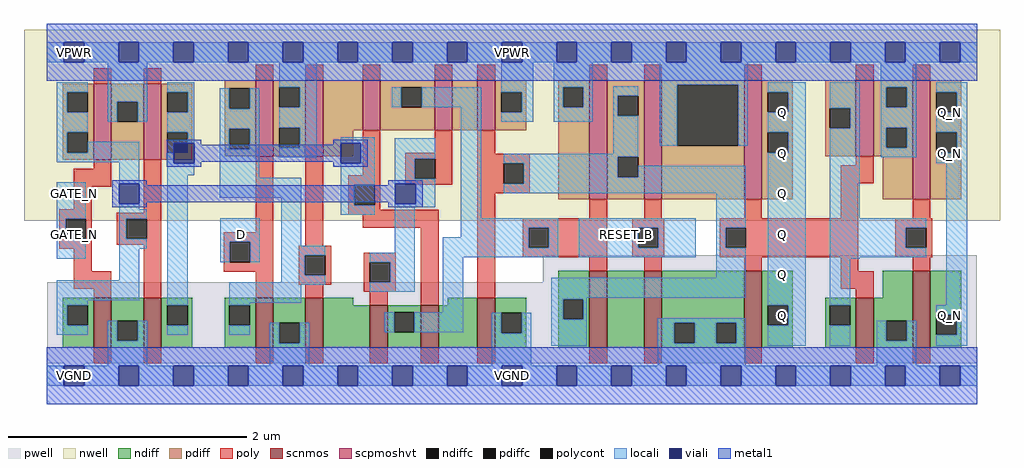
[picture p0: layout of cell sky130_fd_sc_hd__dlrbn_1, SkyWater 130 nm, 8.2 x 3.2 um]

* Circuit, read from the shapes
.subckt sky130_fd_sc_hd__dlrbn_1 D GATE_N RESET_B VGND VNB VPB VPWR Q Q_N
XM1 VGND GATE_N n1 VNB sky130_fd_pr__nfet_01v8 w=0.42 l=0.15
XM2 n2 n1 VGND VNB sky130_fd_pr__nfet_01v8 w=0.42 l=0.15
XM3 VGND D n3 VNB sky130_fd_pr__nfet_01v8 w=0.42 l=0.15
XM4 n4 n3 VGND VNB sky130_fd_pr__nfet_01v8 w=0.42 l=0.15
XM5 n5 n1 n4 VNB sky130_fd_pr__nfet_01v8 w=0.36 l=0.15
XM6 n6 n2 n5 VNB sky130_fd_pr__nfet_01v8 w=0.36 l=0.15
XM7 VGND n7 n6 VNB sky130_fd_pr__nfet_01v8 w=0.42 l=0.15
XM8 n8 n5 n7 VNB sky130_fd_pr__nfet_01v8 w=0.65 l=0.15
XM9 VGND RESET_B n8 VNB sky130_fd_pr__nfet_01v8 w=0.65 l=0.15
XM10 Q n7 VGND VNB sky130_fd_pr__nfet_01v8 w=0.65 l=0.15
XM11 VGND n7 n9 VNB sky130_fd_pr__nfet_01v8 w=0.42 l=0.15
XM12 Q_N n9 VGND VNB sky130_fd_pr__nfet_01v8 w=0.65 l=0.15
XM13 VPWR GATE_N n1 VPB sky130_fd_pr__pfet_01v8_hvt w=0.64 l=0.15
XM14 n2 n1 VPWR VPB sky130_fd_pr__pfet_01v8_hvt w=0.64 l=0.15
XM15 VPWR D n3 VPB sky130_fd_pr__pfet_01v8_hvt w=0.64 l=0.15
XM16 n10 n3 VPWR VPB sky130_fd_pr__pfet_01v8_hvt w=0.64 l=0.15
XM17 n5 n2 n10 VPB sky130_fd_pr__pfet_01v8_hvt w=0.42 l=0.15
XM18 n11 n1 n5 VPB sky130_fd_pr__pfet_01v8_hvt w=0.42 l=0.15
XM19 VPWR n7 n11 VPB sky130_fd_pr__pfet_01v8_hvt w=0.42 l=0.15
XM20 n7 n5 VPWR VPB sky130_fd_pr__pfet_01v8_hvt w=1 l=0.15
XM21 VPWR RESET_B n7 VPB sky130_fd_pr__pfet_01v8_hvt w=1 l=0.15
XM22 Q n7 VPWR VPB sky130_fd_pr__pfet_01v8_hvt w=1 l=0.15
XM23 VPWR n7 n9 VPB sky130_fd_pr__pfet_01v8_hvt w=0.64 l=0.15
XM24 Q_N n9 VPWR VPB sky130_fd_pr__pfet_01v8_hvt w=1 l=0.15
.ends

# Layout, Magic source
magic
tech sky130A
magscale 1 2
<< nwell >>
rect -38 261 1602 582
<< pwell >>
rect 834 157 1563 203
rect 1 21 1563 157
rect 30 -17 64 21
<< scnmos >>
rect 79 47 109 131
rect 163 47 193 131
rect 351 47 381 131
rect 435 47 465 131
rect 543 47 573 119
rect 629 47 659 119
rect 724 47 754 131
rect 912 47 942 177
rect 1004 47 1034 177
rect 1172 47 1202 177
rect 1360 47 1390 131
rect 1455 47 1485 177
<< scpmoshvt >>
rect 79 363 109 491
rect 163 363 193 491
rect 351 369 381 497
rect 435 369 465 497
rect 531 413 561 497
rect 652 413 682 497
rect 724 413 754 497
rect 912 297 942 497
rect 1004 297 1034 497
rect 1172 297 1202 497
rect 1360 369 1390 497
rect 1455 297 1485 497
<< ndiff >>
rect 27 119 79 131
rect 27 85 35 119
rect 69 85 79 119
rect 27 47 79 85
rect 109 93 163 131
rect 109 59 119 93
rect 153 59 163 93
rect 109 47 163 59
rect 193 119 245 131
rect 193 85 203 119
rect 237 85 245 119
rect 193 47 245 85
rect 299 119 351 131
rect 299 85 307 119
rect 341 85 351 119
rect 299 47 351 85
rect 381 89 435 131
rect 381 55 391 89
rect 425 55 435 89
rect 381 47 435 55
rect 465 119 515 131
rect 674 119 724 131
rect 465 47 543 119
rect 573 107 629 119
rect 573 73 584 107
rect 618 73 629 107
rect 573 47 629 73
rect 659 47 724 119
rect 754 106 806 131
rect 754 72 764 106
rect 798 72 806 106
rect 754 47 806 72
rect 860 129 912 177
rect 860 95 868 129
rect 902 95 912 129
rect 860 47 912 95
rect 942 47 1004 177
rect 1034 89 1172 177
rect 1034 55 1055 89
rect 1089 55 1125 89
rect 1159 55 1172 89
rect 1034 47 1172 55
rect 1202 119 1254 177
rect 1405 131 1455 177
rect 1202 85 1212 119
rect 1246 85 1254 119
rect 1202 47 1254 85
rect 1308 119 1360 131
rect 1308 85 1316 119
rect 1350 85 1360 119
rect 1308 47 1360 85
rect 1390 93 1455 131
rect 1390 59 1411 93
rect 1445 59 1455 93
rect 1390 47 1455 59
rect 1485 103 1537 177
rect 1485 69 1495 103
rect 1529 69 1537 103
rect 1485 47 1537 69
<< pdiff >>
rect 27 477 79 491
rect 27 443 35 477
rect 69 443 79 477
rect 27 409 79 443
rect 27 375 35 409
rect 69 375 79 409
rect 27 363 79 375
rect 109 461 163 491
rect 109 427 119 461
rect 153 427 163 461
rect 109 363 163 427
rect 193 477 245 491
rect 193 443 203 477
rect 237 443 245 477
rect 193 409 245 443
rect 193 375 203 409
rect 237 375 245 409
rect 193 363 245 375
rect 299 483 351 497
rect 299 449 307 483
rect 341 449 351 483
rect 299 415 351 449
rect 299 381 307 415
rect 341 381 351 415
rect 299 369 351 381
rect 381 485 435 497
rect 381 451 391 485
rect 425 451 435 485
rect 381 417 435 451
rect 381 383 391 417
rect 425 383 435 417
rect 381 369 435 383
rect 465 413 531 497
rect 561 485 652 497
rect 561 451 596 485
rect 630 451 652 485
rect 561 413 652 451
rect 682 413 724 497
rect 754 477 806 497
rect 754 443 764 477
rect 798 443 806 477
rect 754 413 806 443
rect 860 485 912 497
rect 860 451 868 485
rect 902 451 912 485
rect 465 369 515 413
rect 860 297 912 451
rect 942 471 1004 497
rect 942 437 960 471
rect 994 437 1004 471
rect 942 368 1004 437
rect 942 334 960 368
rect 994 334 1004 368
rect 942 297 1004 334
rect 1034 489 1172 497
rect 1034 387 1060 489
rect 1162 387 1172 489
rect 1034 297 1172 387
rect 1202 477 1254 497
rect 1202 443 1212 477
rect 1246 443 1254 477
rect 1202 409 1254 443
rect 1202 375 1212 409
rect 1246 375 1254 409
rect 1202 297 1254 375
rect 1308 450 1360 497
rect 1308 416 1316 450
rect 1350 416 1360 450
rect 1308 369 1360 416
rect 1390 485 1455 497
rect 1390 451 1411 485
rect 1445 451 1455 485
rect 1390 417 1455 451
rect 1390 383 1411 417
rect 1445 383 1455 417
rect 1390 369 1455 383
rect 1405 297 1455 369
rect 1485 477 1537 497
rect 1485 443 1495 477
rect 1529 443 1537 477
rect 1485 409 1537 443
rect 1485 375 1495 409
rect 1529 375 1537 409
rect 1485 297 1537 375
<< ndiffc >>
rect 35 85 69 119
rect 119 59 153 93
rect 203 85 237 119
rect 307 85 341 119
rect 391 55 425 89
rect 584 73 618 107
rect 764 72 798 106
rect 868 95 902 129
rect 1055 55 1089 89
rect 1125 55 1159 89
rect 1212 85 1246 119
rect 1316 85 1350 119
rect 1411 59 1445 93
rect 1495 69 1529 103
<< pdiffc >>
rect 35 443 69 477
rect 35 375 69 409
rect 119 427 153 461
rect 203 443 237 477
rect 203 375 237 409
rect 307 449 341 483
rect 307 381 341 415
rect 391 451 425 485
rect 391 383 425 417
rect 596 451 630 485
rect 764 443 798 477
rect 868 451 902 485
rect 960 437 994 471
rect 960 334 994 368
rect 1060 387 1162 489
rect 1212 443 1246 477
rect 1212 375 1246 409
rect 1316 416 1350 450
rect 1411 451 1445 485
rect 1411 383 1445 417
rect 1495 443 1529 477
rect 1495 375 1529 409
<< poly >>
rect 79 491 109 517
rect 163 491 193 517
rect 351 497 381 523
rect 435 497 465 523
rect 531 497 561 523
rect 652 497 682 523
rect 724 497 754 523
rect 912 497 942 523
rect 1004 497 1034 523
rect 1172 497 1202 523
rect 1360 497 1390 523
rect 1455 497 1485 523
rect 79 348 109 363
rect 46 318 109 348
rect 46 280 76 318
rect 21 264 76 280
rect 163 274 193 363
rect 21 230 32 264
rect 66 230 76 264
rect 21 214 76 230
rect 118 264 193 274
rect 118 230 134 264
rect 168 230 193 264
rect 351 241 381 369
rect 118 220 193 230
rect 46 176 76 214
rect 46 146 109 176
rect 79 131 109 146
rect 163 131 193 220
rect 298 225 381 241
rect 298 191 308 225
rect 342 191 381 225
rect 435 219 465 369
rect 531 337 561 413
rect 652 375 682 413
rect 507 321 561 337
rect 603 365 682 375
rect 603 331 619 365
rect 653 331 682 365
rect 603 321 682 331
rect 724 373 754 413
rect 724 357 812 373
rect 724 323 768 357
rect 802 323 812 357
rect 507 287 517 321
rect 551 287 561 321
rect 507 279 561 287
rect 724 307 812 323
rect 507 271 659 279
rect 531 249 659 271
rect 298 175 381 191
rect 351 131 381 175
rect 424 203 478 219
rect 424 169 434 203
rect 468 169 478 203
rect 424 153 478 169
rect 533 191 587 207
rect 533 157 543 191
rect 577 157 587 191
rect 435 131 465 153
rect 533 141 587 157
rect 543 119 573 141
rect 629 119 659 249
rect 724 131 754 307
rect 1360 354 1390 369
rect 1334 324 1390 354
rect 912 265 942 297
rect 1004 265 1034 297
rect 1172 265 1202 297
rect 1334 265 1364 324
rect 1455 265 1485 297
rect 800 249 942 265
rect 800 215 810 249
rect 844 215 942 249
rect 800 199 942 215
rect 984 249 1038 265
rect 984 215 994 249
rect 1028 215 1038 249
rect 984 199 1038 215
rect 1131 249 1364 265
rect 1131 215 1141 249
rect 1175 215 1364 249
rect 1131 199 1364 215
rect 1426 249 1488 265
rect 1426 215 1444 249
rect 1478 215 1488 249
rect 1426 199 1488 215
rect 912 177 942 199
rect 1004 177 1034 199
rect 1172 177 1202 199
rect 1334 176 1364 199
rect 1455 177 1485 199
rect 1334 146 1390 176
rect 1360 131 1390 146
rect 79 21 109 47
rect 163 21 193 47
rect 351 21 381 47
rect 435 21 465 47
rect 543 21 573 47
rect 629 21 659 47
rect 724 21 754 47
rect 912 21 942 47
rect 1004 21 1034 47
rect 1172 21 1202 47
rect 1360 21 1390 47
rect 1455 21 1485 47
<< polycont >>
rect 32 230 66 264
rect 134 230 168 264
rect 308 191 342 225
rect 619 331 653 365
rect 768 323 802 357
rect 517 287 551 321
rect 434 169 468 203
rect 543 157 577 191
rect 810 215 844 249
rect 994 215 1028 249
rect 1141 215 1175 249
rect 1444 215 1478 249
<< locali >>
rect 0 527 29 561
rect 63 527 121 561
rect 155 527 213 561
rect 247 527 305 561
rect 339 527 397 561
rect 431 527 489 561
rect 523 527 581 561
rect 615 527 673 561
rect 707 527 765 561
rect 799 527 857 561
rect 891 527 949 561
rect 983 527 1041 561
rect 1075 527 1133 561
rect 1167 527 1225 561
rect 1259 527 1317 561
rect 1351 527 1409 561
rect 1443 527 1501 561
rect 1535 527 1564 561
rect 17 477 69 493
rect 17 443 35 477
rect 17 409 69 443
rect 103 461 169 527
rect 103 427 119 461
rect 153 427 169 461
rect 203 477 248 493
rect 391 485 454 527
rect 237 443 248 477
rect 17 375 35 409
rect 203 409 248 443
rect 69 375 156 393
rect 17 359 156 375
rect 17 264 66 325
rect 17 230 32 264
rect 17 197 66 230
rect 122 323 156 359
rect 122 280 156 289
rect 237 391 248 409
rect 203 357 214 375
rect 203 337 248 357
rect 291 449 307 483
rect 341 449 357 483
rect 291 415 357 449
rect 291 381 307 415
rect 341 381 357 415
rect 122 264 168 280
rect 122 230 134 264
rect 122 214 168 230
rect 122 161 156 214
rect 17 127 156 161
rect 17 119 69 127
rect 17 85 35 119
rect 203 119 237 337
rect 291 333 357 381
rect 425 451 454 485
rect 580 451 596 485
rect 630 451 730 485
rect 391 417 454 451
rect 425 383 454 417
rect 391 367 454 383
rect 494 391 551 401
rect 528 357 551 391
rect 291 299 428 333
rect 292 225 358 265
rect 292 191 308 225
rect 342 191 358 225
rect 394 219 428 299
rect 494 321 551 357
rect 494 287 517 321
rect 494 271 551 287
rect 585 365 653 399
rect 585 331 619 365
rect 585 323 653 331
rect 585 289 586 323
rect 620 289 653 323
rect 585 283 653 289
rect 394 203 468 219
rect 585 207 619 283
rect 696 265 730 451
rect 764 477 818 527
rect 798 443 818 477
rect 764 427 818 443
rect 852 485 918 527
rect 1030 489 1178 527
rect 852 451 868 485
rect 902 451 918 485
rect 852 427 918 451
rect 952 471 994 487
rect 952 437 960 471
rect 952 373 994 437
rect 1030 387 1060 489
rect 1162 387 1178 489
rect 1212 477 1276 493
rect 1246 443 1276 477
rect 1212 409 1276 443
rect 768 368 994 373
rect 768 357 960 368
rect 802 334 960 357
rect 1246 375 1276 409
rect 994 334 1175 353
rect 802 323 1175 334
rect 768 307 1175 323
rect 696 249 860 265
rect 696 233 810 249
rect 394 169 434 203
rect 394 157 468 169
rect 17 69 69 85
rect 103 59 119 93
rect 153 59 169 93
rect 203 69 237 85
rect 307 153 468 157
rect 543 191 619 207
rect 577 157 619 191
rect 307 123 428 153
rect 543 141 619 157
rect 666 215 810 233
rect 844 215 860 249
rect 666 199 860 215
rect 894 249 1091 265
rect 894 215 994 249
rect 1028 215 1091 249
rect 894 199 1091 215
rect 1125 249 1175 307
rect 1125 215 1141 249
rect 307 119 341 123
rect 666 107 700 199
rect 1125 165 1175 215
rect 307 69 341 85
rect 103 17 169 59
rect 375 55 391 89
rect 425 55 441 89
rect 568 73 584 107
rect 618 73 700 107
rect 848 131 1175 165
rect 848 129 908 131
rect 375 17 441 55
rect 748 72 764 106
rect 798 72 814 106
rect 748 17 814 72
rect 848 95 868 129
rect 902 95 908 129
rect 1212 119 1276 375
rect 848 51 908 95
rect 1027 89 1175 97
rect 1027 55 1055 89
rect 1089 55 1125 89
rect 1159 55 1175 89
rect 1027 17 1175 55
rect 1246 85 1276 119
rect 1212 51 1276 85
rect 1316 450 1366 493
rect 1350 416 1366 450
rect 1316 265 1366 416
rect 1402 485 1461 527
rect 1402 451 1411 485
rect 1445 451 1461 485
rect 1402 417 1461 451
rect 1402 383 1411 417
rect 1445 383 1461 417
rect 1402 367 1461 383
rect 1495 477 1547 493
rect 1529 443 1547 477
rect 1495 409 1547 443
rect 1529 375 1547 409
rect 1495 357 1547 375
rect 1316 249 1478 265
rect 1316 215 1444 249
rect 1316 199 1478 215
rect 1316 197 1366 199
rect 1316 119 1350 197
rect 1512 119 1547 357
rect 1495 103 1547 119
rect 1316 51 1350 85
rect 1395 59 1411 93
rect 1445 59 1461 93
rect 1395 17 1461 59
rect 1529 69 1547 103
rect 1495 51 1547 69
rect 0 -17 29 17
rect 63 -17 121 17
rect 155 -17 213 17
rect 247 -17 305 17
rect 339 -17 397 17
rect 431 -17 489 17
rect 523 -17 581 17
rect 615 -17 673 17
rect 707 -17 765 17
rect 799 -17 857 17
rect 891 -17 949 17
rect 983 -17 1041 17
rect 1075 -17 1133 17
rect 1167 -17 1225 17
rect 1259 -17 1317 17
rect 1351 -17 1409 17
rect 1443 -17 1501 17
rect 1535 -17 1564 17
<< viali >>
rect 29 527 63 561
rect 121 527 155 561
rect 213 527 247 561
rect 305 527 339 561
rect 397 527 431 561
rect 489 527 523 561
rect 581 527 615 561
rect 673 527 707 561
rect 765 527 799 561
rect 857 527 891 561
rect 949 527 983 561
rect 1041 527 1075 561
rect 1133 527 1167 561
rect 1225 527 1259 561
rect 1317 527 1351 561
rect 1409 527 1443 561
rect 1501 527 1535 561
rect 122 289 156 323
rect 214 375 237 391
rect 237 375 248 391
rect 214 357 248 375
rect 494 357 528 391
rect 586 289 620 323
rect 29 -17 63 17
rect 121 -17 155 17
rect 213 -17 247 17
rect 305 -17 339 17
rect 397 -17 431 17
rect 489 -17 523 17
rect 581 -17 615 17
rect 673 -17 707 17
rect 765 -17 799 17
rect 857 -17 891 17
rect 949 -17 983 17
rect 1041 -17 1075 17
rect 1133 -17 1167 17
rect 1225 -17 1259 17
rect 1317 -17 1351 17
rect 1409 -17 1443 17
rect 1501 -17 1535 17
<< metal1 >>
rect 0 561 1564 592
rect 0 527 29 561
rect 63 527 121 561
rect 155 527 213 561
rect 247 527 305 561
rect 339 527 397 561
rect 431 527 489 561
rect 523 527 581 561
rect 615 527 673 561
rect 707 527 765 561
rect 799 527 857 561
rect 891 527 949 561
rect 983 527 1041 561
rect 1075 527 1133 561
rect 1167 527 1225 561
rect 1259 527 1317 561
rect 1351 527 1409 561
rect 1443 527 1501 561
rect 1535 527 1564 561
rect 0 496 1564 527
rect 202 391 260 397
rect 202 357 214 391
rect 248 388 260 391
rect 482 391 540 397
rect 482 388 494 391
rect 248 360 494 388
rect 248 357 260 360
rect 202 351 260 357
rect 482 357 494 360
rect 528 357 540 391
rect 482 351 540 357
rect 110 323 168 329
rect 110 289 122 323
rect 156 320 168 323
rect 574 323 632 329
rect 574 320 586 323
rect 156 292 586 320
rect 156 289 168 292
rect 110 283 168 289
rect 574 289 586 292
rect 620 289 632 323
rect 574 283 632 289
rect 0 17 1564 48
rect 0 -17 29 17
rect 63 -17 121 17
rect 155 -17 213 17
rect 247 -17 305 17
rect 339 -17 397 17
rect 431 -17 489 17
rect 523 -17 581 17
rect 615 -17 673 17
rect 707 -17 765 17
rect 799 -17 857 17
rect 891 -17 949 17
rect 983 -17 1041 17
rect 1075 -17 1133 17
rect 1167 -17 1225 17
rect 1259 -17 1317 17
rect 1351 -17 1409 17
rect 1443 -17 1501 17
rect 1535 -17 1564 17
rect 0 -48 1564 -17
<< labels >>
flabel locali s 958 221 992 255 0 FreeSans 200 0 0 0 RESET_B
port 3 nsew signal input
flabel locali s 1500 85 1534 119 0 FreeSans 200 0 0 0 Q_N
port 9 nsew signal output
flabel locali s 1050 221 1084 255 0 FreeSans 200 0 0 0 RESET_B
port 3 nsew signal input
flabel locali s 1220 289 1254 323 0 FreeSans 200 0 0 0 Q
port 8 nsew signal output
flabel locali s 310 221 344 255 0 FreeSans 200 0 0 0 D
port 1 nsew signal input
flabel locali s 30 221 64 255 0 FreeSans 200 0 0 0 GATE_N
port 2 nsew clock input
flabel locali s 1220 357 1254 391 0 FreeSans 200 0 0 0 Q
port 8 nsew signal output
flabel locali s 30 289 64 323 0 FreeSans 200 0 0 0 GATE_N
port 2 nsew clock input
flabel locali s 1220 425 1254 459 0 FreeSans 200 0 0 0 Q
port 8 nsew signal output
flabel locali s 1220 85 1254 119 0 FreeSans 200 0 0 0 Q
port 8 nsew signal output
flabel locali s 1500 357 1534 391 0 FreeSans 200 0 0 0 Q_N
port 9 nsew signal output
flabel locali s 1220 221 1254 255 0 FreeSans 200 0 0 0 Q
port 8 nsew signal output
flabel locali s 1500 425 1534 459 0 FreeSans 200 0 0 0 Q_N
port 9 nsew signal output
flabel locali s 1220 153 1254 187 0 FreeSans 200 0 0 0 Q
port 8 nsew signal output
flabel metal1 s 30 -17 64 17 0 FreeSans 200 0 0 0 VGND
port 4 nsew ground bidirectional abutment
flabel metal1 s 30 527 64 561 0 FreeSans 200 0 0 0 VPWR
port 7 nsew power bidirectional abutment
flabel metal1 s 47 544 47 544 0 FreeSans 200 0 0 0 VPWR
flabel metal1 s 47 0 47 0 0 FreeSans 200 0 0 0 VGND
flabel nwell s 30 527 64 561 0 FreeSans 200 0 0 0 VPB
port 6 nsew power bidirectional
flabel nwell s 47 544 47 544 0 FreeSans 200 0 0 0 VPB
flabel nwell s 47 544 47 544 0 FreeSans 200 0 0 0 VPB
flabel pwell s 30 -17 64 17 0 FreeSans 200 0 0 0 VNB
port 5 nsew ground bidirectional
flabel pwell s 47 0 47 0 0 FreeSans 200 0 0 0 VNB
flabel pwell s 47 0 47 0 0 FreeSans 200 0 0 0 VNB
rlabel comment s 0 0 0 0 4 dlrbn_1
rlabel metal1 s 0 -48 1564 48 1 VGND
port 4 nsew ground bidirectional abutment
rlabel metal1 s 0 496 1564 592 1 VPWR
port 7 nsew power bidirectional abutment
<< properties >>
string FIXED_BBOX 0 0 1564 544
string GDS_END 2683232
string GDS_FILE $PDKPATH/libs.ref/sky130_fd_sc_hd/gds/sky130_fd_sc_hd.gds
string GDS_START 2669476
string LEFclass CORE
string LEFsite unithd
string LEFsymmetry X Y R90
<< end >>
